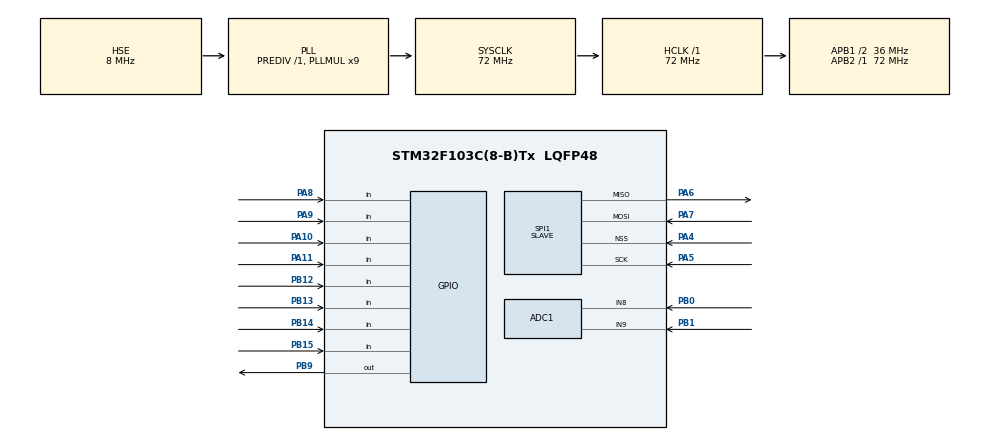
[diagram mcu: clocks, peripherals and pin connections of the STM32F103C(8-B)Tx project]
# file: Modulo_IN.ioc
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ADC1.Channel-0\#ChannelRegularConversion=ADC_CHANNEL_8
ADC1.Channel-1\#ChannelRegularConversion=ADC_CHANNEL_9
ADC1.ContinuousConvMode=ENABLE
ADC1.NbrOfConversion=2
ADC1.NbrOfConversionFlag=1
ADC1.Rank-0\#ChannelRegularConversion=1
ADC1.Rank-1\#ChannelRegularConversion=2
ADC1.SamplingTime-0\#ChannelRegularConversion=ADC_SAMPLETIME_1CYCLE_5
ADC1.SamplingTime-1\#ChannelRegularConversion=ADC_SAMPLETIME_1CYCLE_5
ADC1.master=1
Dma.ADC1.0.Direction=DMA_PERIPH_TO_MEMORY
Dma.ADC1.0.Instance=DMA1_Channel1
Dma.ADC1.0.MemDataAlignment=DMA_MDATAALIGN_HALFWORD
Dma.ADC1.0.MemInc=DMA_MINC_ENABLE
Dma.ADC1.0.Mode=DMA_NORMAL
Dma.ADC1.0.PeriphDataAlignment=DMA_PDATAALIGN_HALFWORD
Dma.ADC1.0.PeriphInc=DMA_PINC_DISABLE
Dma.ADC1.0.Priority=DMA_PRIORITY_LOW
Dma.Request0=ADC1
Mcu.Family=STM32F1
Mcu.Name=STM32F103C(8-B)Tx
Mcu.Package=LQFP48
NVIC.ADC1_2_IRQn=true\:0\:0\:false\:false\:true\:true\:true\:true
NVIC.DMA1_Channel1_IRQn=true\:0\:0\:false\:false\:true\:false\:true\:true
NVIC.PriorityGroup=NVIC_PRIORITYGROUP_4
NVIC.SPI1_IRQn=true\:0\:0\:false\:false\:true\:true\:true\:true
PA10.GPIO_PuPd=GPIO_PULLDOWN
PA10.Signal=GPIO_Input
PA11.GPIO_PuPd=GPIO_PULLDOWN
PA11.Signal=GPIO_Input
PA13.Mode=Serial_Wire
PA13.Signal=SYS_JTMS-SWDIO
PA14.Mode=Serial_Wire
PA14.Signal=SYS_JTCK-SWCLK
PA4.Mode=NSS_Signal_Hard_Input
PA4.Signal=SPI1_NSS
PA5.Mode=Full_Duplex_Slave
PA5.Signal=SPI1_SCK
PA6.Mode=Full_Duplex_Slave
PA6.Signal=SPI1_MISO
PA7.Mode=Full_Duplex_Slave
PA7.Signal=SPI1_MOSI
PA8.GPIO_PuPd=GPIO_PULLDOWN
PA8.Signal=GPIO_Input
PA9.GPIO_PuPd=GPIO_PULLDOWN
PA9.Signal=GPIO_Input
PB0.Signal=ADCx_IN8
PB1.Signal=ADCx_IN9
PB12.GPIO_PuPd=GPIO_PULLDOWN
PB12.Signal=GPIO_Input
PB13.GPIO_PuPd=GPIO_PULLDOWN
PB13.Signal=GPIO_Input
PB14.GPIO_PuPd=GPIO_PULLDOWN
PB14.Signal=GPIO_Input
PB15.GPIO_PuPd=GPIO_PULLDOWN
PB15.Signal=GPIO_Input
PB9.GPIO_PuPd=GPIO_PULLDOWN
PB9.Signal=GPIO_Output
PD0-OSC_IN.Mode=HSE-External-Oscillator
PD0-OSC_IN.Signal=RCC_OSC_IN
PD1-OSC_OUT.Mode=HSE-External-Oscillator
PD1-OSC_OUT.Signal=RCC_OSC_OUT
ProjectManager.HeapSize=0x200
ProjectManager.StackSize=0x400
ProjectManager.TargetToolchain=EWARM V8.32
RCC.ADCPresc=RCC_ADCPCLK2_DIV6
RCC.AHBFreq_Value=72000000
RCC.APB1CLKDivider=RCC_HCLK_DIV2
RCC.APB1Freq_Value=36000000
RCC.APB1TimFreq_Value=72000000
RCC.APB2Freq_Value=72000000
RCC.APB2TimFreq_Value=72000000
RCC.HCLKFreq_Value=72000000
RCC.PLLMUL=RCC_PLL_MUL9
RCC.PLLSourceVirtual=RCC_PLLSOURCE_HSE
RCC.SYSCLKFreq_VALUE=72000000
RCC.SYSCLKSource=RCC_SYSCLKSOURCE_PLLCLK
RCC.USBFreq_Value=72000000
SH.ADCx_IN8.0=ADC1_IN8,IN8
SH.ADCx_IN9.0=ADC1_IN9,IN9
SPI1.Direction=SPI_DIRECTION_2LINES
SPI1.Mode=SPI_MODE_SLAVE
SPI1.VirtualNSS=VM_NSSHARD
SPI1.VirtualType=VM_SLAVE
board=custom

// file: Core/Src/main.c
/* USER CODE BEGIN Header */
/**
  ******************************************************************************
  * @file           : main.c
  * @brief          : Main program body
  ******************************************************************************
  * @attention
  *
  * Copyright (c) 2026 STMicroelectronics.
  * All rights reserved.
  *
  * This software is licensed under terms that can be found in the LICENSE file
  * in the root directory of this software component.
  * If no LICENSE file comes with this software, it is provided AS-IS.
  *
  ******************************************************************************
  */
/* USER CODE END Header */
#include "main.h"

ADC_HandleTypeDef hadc1;
DMA_HandleTypeDef hdma_adc1;

SPI_HandleTypeDef hspi1;

/* USER CODE BEGIN PV */
IWDG_HandleTypeDef hiwdg;
/* USER CODE END PV */

void SystemClock_Config(void);
static void MX_GPIO_Init(void);
static void MX_DMA_Init(void);
static void MX_ADC1_Init(void);
static void MX_SPI1_Init(void);
/* USER CODE BEGIN PFP */
uint8_t TxBuffer[PROTO_LARGO_ENTRADAS];
uint8_t RxBuffer;
volatile bool spiRxReady = false;
volatile bool spiTxReady = false;

uint16_t entradasD[8] ={
  ENT_DIG_1,
  ENT_DIG_2,
  ENT_DIG_3,
  ENT_DIG_4,
  ENT_DIG_5,
  ENT_DIG_6,
  ENT_DIG_7,
  ENT_DIG_8
};
estAct_t estAct;
uint8_t RxMod = 0x00;
volatile uint16_t adcBuffer[2];
/* USER CODE END PFP */

/* USER CODE BEGIN 0 */

/* Protocolo con el CPU: ver induproto.h y docs/PROTOCOLO.md */

/* Watchdog: si el firmware se cuelga mas de ~250 ms, el micro se reinicia.
 * LSI ~40 kHz / 64 = 625 Hz -> 156 cuentas = 250 ms (166..375 ms segun el LSI). */
static void iwdg_init(void)
{
  __HAL_DBGMCU_FREEZE_IWDG();   /* el watchdog se detiene con el depurador en pausa */
  hiwdg.Instance = IWDG;
  hiwdg.Init.Prescaler = IWDG_PRESCALER_64;
  hiwdg.Init.Reload = 156;
  if (HAL_IWDG_Init(&hiwdg) != HAL_OK)
  {
    Error_Handler();
  }
}

static uint8_t leer_digitales(void)
{
  uint8_t dig = 0;
  for (int i = 0; i < 4; i++)
  {
    estAct.modId[i] = HAL_GPIO_ReadPin(GPIOA, entradasD[i]);
  }
  for (int i = 4; i < 8; i++)
  {
    estAct.modId[i] = HAL_GPIO_ReadPin(GPIOB, entradasD[i]);
  }
  for (int i = 0; i < 8; i++)
  {
    dig |= (uint8_t)((estAct.modId[i] ? 1 : 0) << i);
  }
  return dig;
}

/* NSS (chip select) del SPI1: PA4. Se puede leer como GPIO aunque lo use el SPI. */
#define NSS_PORT GPIOA
#define NSS_PIN  GPIO_PIN_4

/* Contadores para verificar la comunicacion (se pueden ver con el depurador). */
volatile uint32_t tramasOk = 0;
volatile uint32_t tramasError = 0;

static bool nss_activo(void)
{
  return HAL_GPIO_ReadPin(NSS_PORT, NSS_PIN) == GPIO_PIN_RESET;
}

/* Espera a que el CPU termine la trama (NSS en alto) y deja el SPI limpio
 * para la siguiente: asi un error nunca se arrastra a la trama que sigue. */
static void spi_fin_de_trama(void)
{
  uint32_t t0 = HAL_GetTick();
  while (nss_activo() && (HAL_GetTick() - t0) < 5) {
  }
  __HAL_SPI_DISABLE(&hspi1);
  (void)hspi1.Instance->DR;   // descarta un byte recibido a medias
  (void)hspi1.Instance->SR;   // junto con la lectura de DR, limpia el overrun (OVR)
  __HAL_SPI_ENABLE(&hspi1);
}

/* USER CODE END 0 */

int main(void)
{

  /* MCU Configuration--------------------------------------------------------*/

  /* Reset of all peripherals, Initializes the Flash interface and the Systick. */
  HAL_Init();

  /* Configure the system clock */
  SystemClock_Config();

  /* Initialize all configured peripherals */
  MX_GPIO_Init();
  MX_DMA_Init();
  MX_ADC1_Init();
  MX_SPI1_Init();
  /* USER CODE BEGIN 2 */

  HAL_ADCEx_Calibration_Start(&hadc1);
  iwdg_init();
  HAL_ADC_Start_DMA(&hadc1, (uint32_t*)adcBuffer, 2); // primera lectura analogica

  /* La deteccion del modulo ya no se hace solo al arrancar: el loop responde
   * al comando 0x48 en cualquier momento. Asi, si el CPU o este modulo se
   * reinician por separado, se pueden volver a detectar. */

  /* USER CODE END 2 */

  /* Infinite loop */
  /* USER CODE BEGIN WHILE */
  while (1)
  {
    /* 1. Esperar a que el CPU seleccione este modulo (NSS en bajo) */
    while (!nss_activo()) {
      HAL_IWDG_Refresh(&hiwdg);
    }

    /* 2. Recibir el comando y responder */
    uint8_t cmd = 0;
    if (HAL_SPI_Receive(&hspi1, &cmd, 1, 2) != HAL_OK)
    {
      cmd = 0;   // no llego el comando: se cuenta como error mas abajo
    }

    if (cmd == PROTO_CMD_DETECCION)
    {
      proto_armar_deteccion(PROTO_ID_ENTRADAS, TxBuffer);
      if (HAL_SPI_Transmit(&hspi1, TxBuffer, PROTO_LARGO_DETECCION, 2) == HAL_OK) {
        tramasOk++;
      } else {
        tramasError++;
      }
    }
    else if (cmd == PROTO_CMD_LEER)
    {
      proto_datos_t d;
      d.dig = leer_digitales();
      d.ana[0] = estAct.modIa[AN_1];
      d.ana[1] = estAct.modIa[AN_2];
      proto_armar_datos(PROTO_CMD_LEER, &d, TxBuffer);

      /* La respuesta se carga apenas llega el comando; el CPU espera
       * PROTO_PAUSA_US antes de leerla. */
      if (HAL_SPI_Transmit(&hspi1, TxBuffer, PROTO_LARGO_ENTRADAS, 2) == HAL_OK) {
        tramasOk++;
      } else {
        tramasError++;
      }

      /* Nueva conversion del ADC para la proxima lectura */
      HAL_ADC_Stop_DMA(&hadc1);
      HAL_ADC_Start_DMA(&hadc1, (uint32_t*)adcBuffer, 2);
    }
    else
    {
      tramasError++;   // timeout o comando desconocido
    }

    /* 3. Esperar el fin de la trama y dejar el SPI limpio */
    spi_fin_de_trama();
    HAL_IWDG_Refresh(&hiwdg);
  }

    /* USER CODE END WHILE */
}

  void HAL_ADC_ConvCpltCallback(ADC_HandleTypeDef* hadc)
{
    if (hadc->Instance == ADC1)
    {
      /* Rank 1 = canal 9 (PB1, InAn1), rank 2 = canal 8 (PB0, InAn2). 12 bits. */
      estAct.modIa[AN_1] = adcBuffer[0] & 0x0FFF;
      estAct.modIa[AN_2] = adcBuffer[1] & 0x0FFF;
    }
}
void SystemClock_Config(void)
{
  RCC_OscInitTypeDef RCC_OscInitStruct = {0};
  RCC_ClkInitTypeDef RCC_ClkInitStruct = {0};
  RCC_PeriphCLKInitTypeDef PeriphClkInit = {0};

  /** Initializes the RCC Oscillators according to the specified parameters
  * in the RCC_OscInitTypeDef structure.
  */
  RCC_OscInitStruct.OscillatorType = RCC_OSCILLATORTYPE_HSE;
  RCC_OscInitStruct.HSEState = RCC_HSE_ON;
  RCC_OscInitStruct.HSEPredivValue = RCC_HSE_PREDIV_DIV1;
  RCC_OscInitStruct.HSIState = RCC_HSI_ON;
  RCC_OscInitStruct.PLL.PLLState = RCC_PLL_ON;
  RCC_OscInitStruct.PLL.PLLSource = RCC_PLLSOURCE_HSE;
  RCC_OscInitStruct.PLL.PLLMUL = RCC_PLL_MUL9;
  if (HAL_RCC_OscConfig(&RCC_OscInitStruct) != HAL_OK)
  {
    Error_Handler();
  }

  /** Initializes the CPU, AHB and APB buses clocks
  */
  RCC_ClkInitStruct.ClockType = RCC_CLOCKTYPE_HCLK|RCC_CLOCKTYPE_SYSCLK
                              |RCC_CLOCKTYPE_PCLK1|RCC_CLOCKTYPE_PCLK2;
  RCC_ClkInitStruct.SYSCLKSource = RCC_SYSCLKSOURCE_PLLCLK;
  RCC_ClkInitStruct.AHBCLKDivider = RCC_SYSCLK_DIV1;
  RCC_ClkInitStruct.APB1CLKDivider = RCC_HCLK_DIV2;
  RCC_ClkInitStruct.APB2CLKDivider = RCC_HCLK_DIV1;

  if (HAL_RCC_ClockConfig(&RCC_ClkInitStruct, FLASH_LATENCY_2) != HAL_OK)
  {
    Error_Handler();
  }
  PeriphClkInit.PeriphClockSelection = RCC_PERIPHCLK_ADC;
  PeriphClkInit.AdcClockSelection = RCC_ADCPCLK2_DIV6;
  if (HAL_RCCEx_PeriphCLKConfig(&PeriphClkInit) != HAL_OK)
  {
    Error_Handler();
  }
}

static void MX_ADC1_Init(void)
{

  ADC_ChannelConfTypeDef sConfig = {0};

  /** Common config
  */
  hadc1.Instance = ADC1;
  hadc1.Init.ScanConvMode = ADC_SCAN_ENABLE;
  hadc1.Init.ContinuousConvMode = ENABLE;
  hadc1.Init.DiscontinuousConvMode = DISABLE;
  hadc1.Init.ExternalTrigConv = ADC_SOFTWARE_START;
  hadc1.Init.DataAlign = ADC_DATAALIGN_RIGHT;
  hadc1.Init.NbrOfConversion = 2;
  if (HAL_ADC_Init(&hadc1) != HAL_OK)
  {
    Error_Handler();
  }

  /** Configure Regular Channel
  */
  /* InAn1 de la bornera esta en PB1 (canal 9) y InAn2 en PB0 (canal 8).
   * Se convierte primero InAn1 para que adcBuffer[0] = AN_1. */
  sConfig.Channel = ADC_CHANNEL_9;
  sConfig.Rank = ADC_REGULAR_RANK_1;
  sConfig.SamplingTime = ADC_SAMPLETIME_55CYCLES_5;
  if (HAL_ADC_ConfigChannel(&hadc1, &sConfig) != HAL_OK)
  {
    Error_Handler();
  }

  /** Configure Regular Channel
  */
  sConfig.Channel = ADC_CHANNEL_8;
  sConfig.Rank = ADC_REGULAR_RANK_2;
  if (HAL_ADC_ConfigChannel(&hadc1, &sConfig) != HAL_OK)
  {
    Error_Handler();
  }

}

static void MX_SPI1_Init(void)
{

  /* SPI1 parameter configuration*/
  hspi1.Instance = SPI1;
  hspi1.Init.Mode = SPI_MODE_SLAVE;
  hspi1.Init.Direction = SPI_DIRECTION_2LINES;
  hspi1.Init.DataSize = SPI_DATASIZE_8BIT;
  hspi1.Init.CLKPolarity = SPI_POLARITY_LOW;
  hspi1.Init.CLKPhase = SPI_PHASE_1EDGE;
  hspi1.Init.NSS = SPI_NSS_HARD_INPUT;//estaba en hard
  hspi1.Init.FirstBit = SPI_FIRSTBIT_MSB;
  hspi1.Init.TIMode = SPI_TIMODE_DISABLE;
  hspi1.Init.CRCCalculation = SPI_CRCCALCULATION_DISABLE;
  hspi1.Init.CRCPolynomial = 10;
  if (HAL_SPI_Init(&hspi1) != HAL_OK)
  {
    Error_Handler();
  }

}

static void MX_DMA_Init(void)
{

  /* DMA controller clock enable */
  __HAL_RCC_DMA1_CLK_ENABLE();

  /* DMA interrupt init */
  /* DMA1_Channel1_IRQn interrupt configuration */
  HAL_NVIC_SetPriority(DMA1_Channel1_IRQn, 0, 0);
  HAL_NVIC_EnableIRQ(DMA1_Channel1_IRQn);

}

static void MX_GPIO_Init(void)
{
  GPIO_InitTypeDef GPIO_InitStruct = {0};

  /* GPIO Ports Clock Enable */
  __HAL_RCC_GPIOD_CLK_ENABLE();
  __HAL_RCC_GPIOA_CLK_ENABLE();
  __HAL_RCC_GPIOB_CLK_ENABLE();

  /*Configure GPIO pin Output Level */
  HAL_GPIO_WritePin(GPIOB, GPIO_PIN_9, GPIO_PIN_RESET);

  /*Configure GPIO pins : PB12 PB13 PB14 PB15 */
  GPIO_InitStruct.Pin = GPIO_PIN_12|GPIO_PIN_13|GPIO_PIN_14|GPIO_PIN_15;
  GPIO_InitStruct.Mode = GPIO_MODE_INPUT;
  GPIO_InitStruct.Pull = GPIO_NOPULL;   /* la placa tiene pull-up externo de 10k */
  HAL_GPIO_Init(GPIOB, &GPIO_InitStruct);

  /*Configure GPIO pins : PA8 PA9 PA10 PA11 */
  GPIO_InitStruct.Pin = GPIO_PIN_8|GPIO_PIN_9|GPIO_PIN_10|GPIO_PIN_11;
  GPIO_InitStruct.Mode = GPIO_MODE_INPUT;
  GPIO_InitStruct.Pull = GPIO_NOPULL;   /* la placa tiene pull-up externo de 10k */
  HAL_GPIO_Init(GPIOA, &GPIO_InitStruct);

  /*Configure GPIO pin : PB9 */
  GPIO_InitStruct.Pin = GPIO_PIN_9;
  GPIO_InitStruct.Mode = GPIO_MODE_OUTPUT_PP;
  GPIO_InitStruct.Pull = GPIO_PULLDOWN;
  GPIO_InitStruct.Speed = GPIO_SPEED_FREQ_LOW;
  HAL_GPIO_Init(GPIOB, &GPIO_InitStruct);

}

void Error_Handler(void)
{
  __disable_irq();
  while (1)
  {
  }
}
